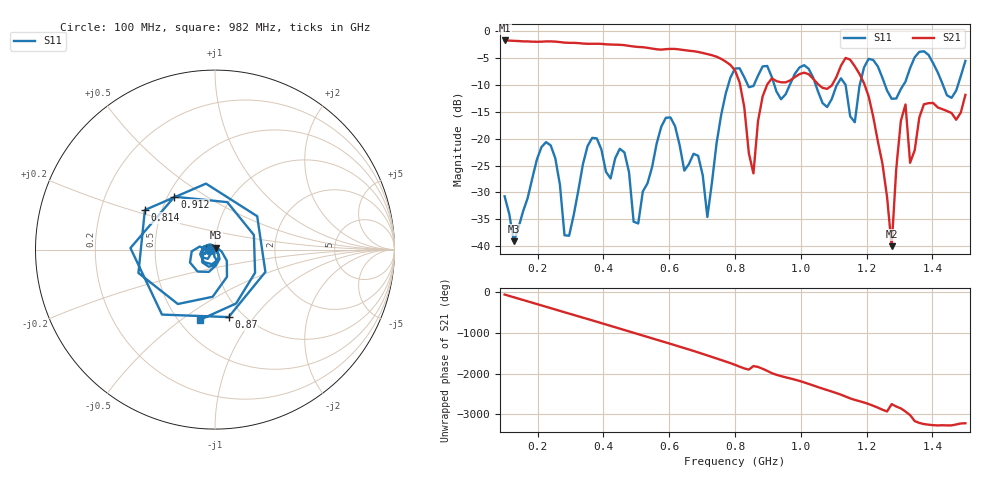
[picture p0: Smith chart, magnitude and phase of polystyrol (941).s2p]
! NanoVNA-App
! Date: 2025-09-25 15:37:12
! Start: 100MHz Stop: 1,5GHz Points: 101
! S-Parameter data: F S11 S21 S12 S22
# Hz S RI R 50
!  Frequency  S11_Real  S11_Imag  S21_Real  S21_Imag  S12_Real  S12_Imag  S22_Real  S22_Imag
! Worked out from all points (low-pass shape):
!   101 points, 100 MHz to 1.5 GHz, reference 50 ohm
!   highest |S21| = -1.80 dB at 100 MHz (marker M1); lowest = -40.0 dB at 1.276 GHz (marker M2)
!   |S21| within 3 dB of the highest: start of sweep to 743.3 MHz
!   lowest |S11| = -39.1 dB at 128 MHz (marker M3), VSWR 1.02, Z = 50.3 + j1.06 ohm
!   |S11| at or under -10 dB: start of sweep to 779.7 MHz; 1.045 GHz to 1.11 GHz (65.27 MHz wide, 6.06 % of centre); 1.136 GHz to 1.179 GHz (43.67 MHz wide, 3.77 % of centre) (the widest 3 of 7)
!   S12 and S22 are empty: the file has one direction only
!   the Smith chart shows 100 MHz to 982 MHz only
!   S11 on the Smith chart (normalised r, x): 100 MHz: 0.94, -0.01; 814 MHz: 0.40, +0.22; 870 MHz: 0.86, -0.76; 912 MHz: 0.54, +0.37; 982 MHz: 0.63, -0.59
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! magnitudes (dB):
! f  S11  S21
! 100 MHz  -30.7  -1.8
! 128 MHz  -39.1  -1.9
! 212 MHz  -21.6  -2.0
! 282 MHz  -37.9  -2.2
! 338 MHz  -24.7  -2.4
! 464 MHz  -22.6  -2.7
! 506 MHz  -35.7  -3.0
! 576 MHz  -17.8  -3.5
! 716 MHz  -34.5  -4.3
! 800 MHz  -7.0  -7.3
! 814 MHz  -7.0  -9.6
! 856 MHz  -10.3  -26.5
! 870 MHz  -8.3  -16.7
! 912 MHz  -8.6  -8.8
! 982 MHz  -8.0  -8.6
! 1.038 GHz  -8.8  -8.9
! 1.164 GHz  -17.0  -6.6
! 1.192 GHz  -6.8  -9.7
! 1.276 GHz  -12.6  -40.0
! 1.318 GHz  -9.4  -13.7
! 1.332 GHz  -6.9  -24.5
! 1.5 GHz  -5.6  -11.9
